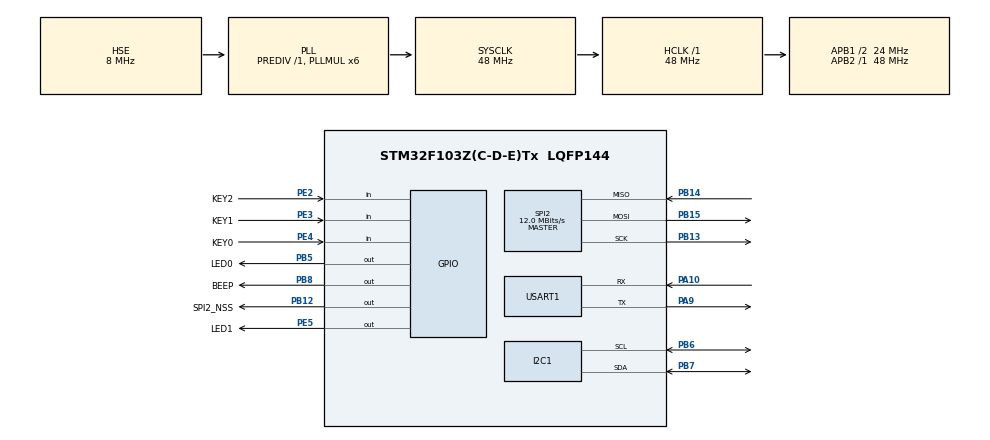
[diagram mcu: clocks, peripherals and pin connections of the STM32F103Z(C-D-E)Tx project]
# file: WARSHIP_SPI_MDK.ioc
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I2C1.I2C_Mode=I2C_Fast
Mcu.Family=STM32F1
Mcu.Name=STM32F103Z(C-D-E)Tx
Mcu.Package=LQFP144
NVIC.PriorityGroup=NVIC_PRIORITYGROUP_4
OSC_IN.Mode=HSE-External-Oscillator
OSC_IN.Signal=RCC_OSC_IN
OSC_OUT.Mode=HSE-External-Oscillator
OSC_OUT.Signal=RCC_OSC_OUT
PA0-WKUP.Mode=SYS_WakeUp0
PA0-WKUP.Signal=SYS_WKUP
PA10.Mode=Asynchronous
PA10.Signal=USART1_RX
PA13.Mode=Serial_Wire
PA13.Signal=SYS_JTMS-SWDIO
PA14.Mode=Serial_Wire
PA14.Signal=SYS_JTCK-SWCLK
PA9.Mode=Asynchronous
PA9.Signal=USART1_TX
PB12.GPIO_Label=SPI2_NSS
PB12.Signal=GPIO_Output
PB13.Mode=Full_Duplex_Master
PB13.Signal=SPI2_SCK
PB14.Mode=Full_Duplex_Master
PB14.Signal=SPI2_MISO
PB15.Mode=Full_Duplex_Master
PB15.Signal=SPI2_MOSI
PB5.GPIO_Label=LED0
PB5.GPIO_ModeDefaultOutputPP=GPIO_MODE_OUTPUT_OD
PB5.GPIO_PuPd=GPIO_NOPULL
PB5.PinState=GPIO_PIN_SET
PB5.Signal=GPIO_Output
PB6.Mode=I2C
PB6.Signal=I2C1_SCL
PB7.Mode=I2C
PB7.Signal=I2C1_SDA
PB8.GPIO_Label=BEEP
PB8.Signal=GPIO_Output
PC14-OSC32_IN.Mode=LSE-External-Oscillator
PC14-OSC32_IN.Signal=RCC_OSC32_IN
PC15-OSC32_OUT.Mode=LSE-External-Oscillator
PC15-OSC32_OUT.Signal=RCC_OSC32_OUT
PE2.GPIO_Label=KEY2
PE2.Signal=GPIO_Input
PE3.GPIO_Label=KEY1
PE3.Signal=GPIO_Input
PE4.GPIO_Label=KEY0
PE4.Signal=GPIO_Input
PE5.GPIO_Label=LED1
PE5.GPIO_ModeDefaultOutputPP=GPIO_MODE_OUTPUT_OD
PE5.GPIO_PuPd=GPIO_NOPULL
PE5.PinState=GPIO_PIN_SET
PE5.Signal=GPIO_Output
ProjectManager.HeapSize=0x200
ProjectManager.StackSize=0x400
ProjectManager.TargetToolchain=MDK-ARM V5.32
RCC.ADCPresc=RCC_ADCPCLK2_DIV4
RCC.AHBFreq_Value=48000000
RCC.APB1CLKDivider=RCC_HCLK_DIV2
RCC.APB1Freq_Value=24000000
RCC.APB1TimFreq_Value=48000000
RCC.APB2Freq_Value=48000000
RCC.APB2TimFreq_Value=48000000
RCC.HCLKFreq_Value=48000000
RCC.PLLMUL=RCC_PLL_MUL6
RCC.PLLSourceVirtual=RCC_PLLSOURCE_HSE
RCC.SYSCLKFreq_VALUE=48000000
RCC.SYSCLKSource=RCC_SYSCLKSOURCE_PLLCLK
RCC.USBFreq_Value=48000000
SPI2.BaudRatePrescaler=SPI_BAUDRATEPRESCALER_2
SPI2.CLKPhase=SPI_PHASE_2EDGE
SPI2.CLKPolarity=SPI_POLARITY_HIGH
SPI2.CalculateBaudRate=12.0 MBits/s
SPI2.Direction=SPI_DIRECTION_2LINES
SPI2.Mode=SPI_MODE_MASTER
SPI2.VirtualType=VM_MASTER
USART1.VirtualMode=VM_ASYNC
VP_RTC_VS_RTC_Activate.Mode=RTC_Enabled
board=custom

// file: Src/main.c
/* USER CODE BEGIN Header */
/**
  ******************************************************************************
  * @file           : main.c
  * @brief          : Main program body
  ******************************************************************************
  * @attention
  *
  * Copyright (c) 2026 STMicroelectronics.
  * All rights reserved.
  *
  * This software is licensed under terms that can be found in the LICENSE file
  * in the root directory of this software component.
  * If no LICENSE file comes with this software, it is provided AS-IS.
  *
  ******************************************************************************
  */
/* USER CODE END Header */
#include "main.h"
#include "i2c.h"
#include "rtc.h"
#include "spi.h"
#include "usart.h"
#include "gpio.h"

void SystemClock_Config(void);
/* USER CODE BEGIN PFP */

static void SaveLEDState(uint8_t led_state);
static uint8_t LoadLEDState(void);

/* USER CODE END PFP */

/* USER CODE BEGIN 0 */

static void SaveLEDState(uint8_t led_state)
{
  //1. Send Write Enable command to the SPI flash memory

  uint8_t writeEnableCmd[] = {0x06}; // Write Enable command
  HAL_GPIO_WritePin(SPI2_NSS_GPIO_Port, SPI2_NSS_Pin, GPIO_PIN_RESET); // CS Low
  HAL_SPI_Transmit(&hspi2, writeEnableCmd, 1, HAL_MAX_DELAY); // Send Write Enable command
  HAL_GPIO_WritePin(SPI2_NSS_GPIO_Port, SPI2_NSS_Pin, GPIO_PIN_SET); // CS High

  //2. Send Sector Erase command to the SPI flash memory

  uint8_t sectorEraseCmd[] = {0x20, 0x00, 0x00, 0x00}; // Sector Erase command with address 0x000000
  HAL_GPIO_WritePin(SPI2_NSS_GPIO_Port, SPI2_NSS_Pin, GPIO_PIN_RESET); // CS Low
  HAL_SPI_Transmit(&hspi2, sectorEraseCmd, 4, HAL_MAX_DELAY); // Send Sector Erase command
  HAL_GPIO_WritePin(SPI2_NSS_GPIO_Port, SPI2_NSS_Pin, GPIO_PIN_SET); // CS High
  HAL_Delay(100); // Wait for Sector Erase to take effect

  //3.Send Write Enable command to the SPI flash memory again

  uint8_t pageProgCmd[5];
  pageProgCmd[0] = 0x02; // Page Program command
  pageProgCmd[1] = 0x00; // Address byte 1
  pageProgCmd[2] = 0x00; // Address byte 2
  pageProgCmd[3] = 0x00; // Address byte 3
  pageProgCmd[4] = led_state; // Data byte to be written
  HAL_GPIO_WritePin(SPI2_NSS_GPIO_Port, SPI2_NSS_Pin, GPIO_PIN_RESET); // CS Low
  HAL_SPI_Transmit(&hspi2, pageProgCmd, 5, HAL_MAX_DELAY); // Send Page Program command
  HAL_GPIO_WritePin(SPI2_NSS_GPIO_Port, SPI2_NSS_Pin, GPIO_PIN_SET); // CS High

  //4. Send Page Program command along with address and data to be written

  HAL_Delay(10); // Wait for Page Program to take effect
}

static uint8_t LoadLEDState(void)
{

  uint8_t readDataCmd[] = {0x03, 0x00, 0x00, 0x00}; // Read Data command with address 0x000000
  uint8_t led_state = 0xff;
  HAL_GPIO_WritePin(SPI2_NSS_GPIO_Port, SPI2_NSS_Pin, GPIO_PIN_RESET); // CS Low
  HAL_SPI_Transmit(&hspi2, readDataCmd, 4, HAL_MAX_DELAY); // Send Read Data command
  HAL_SPI_Receive(&hspi2, &led_state, 1, HAL_MAX_DELAY); // Receive data byte
  HAL_GPIO_WritePin(SPI2_NSS_GPIO_Port, SPI2_NSS_Pin, GPIO_PIN_SET); // CS High
  return led_state;
}

/* USER CODE END 0 */

int main(void)
{

  /* MCU Configuration--------------------------------------------------------*/

  /* Reset of all peripherals, Initializes the Flash interface and the Systick. */
  HAL_Init();

  /* Configure the system clock */
  SystemClock_Config();

  /* Initialize all configured peripherals */
  MX_GPIO_Init();
  MX_RTC_Init();
  MX_USART1_UART_Init();
  MX_I2C1_Init();
  MX_SPI2_Init();

  /* Infinite loop */
  /* USER CODE BEGIN WHILE */

  uint8_t pre_state = 1, cur_state = 1;
  uint8_t led_state = 0;

  led_state = LoadLEDState();
  if(led_state == 1)
  {
    HAL_GPIO_WritePin(LED0_GPIO_Port, LED0_Pin, GPIO_PIN_RESET); //LED0 ON
  }
  else
  {
    HAL_GPIO_WritePin(LED0_GPIO_Port, LED0_Pin, GPIO_PIN_SET); //LED0 OFF
  }

  while (1)
  {
    pre_state = cur_state;

    if(HAL_GPIO_ReadPin(KEY1_GPIO_Port, KEY1_Pin) == GPIO_PIN_SET)
    {
      cur_state = 1;
    }
    else
    {
      cur_state = 0;
    }

    if(pre_state != cur_state)
    {
      HAL_Delay(10); //Debounce delay
      if(cur_state == 0) //Press KEY1
      {

      }
      else //Release KEY1
      {
        if(led_state ==1)
        {
          HAL_GPIO_WritePin(LED0_GPIO_Port, LED0_Pin, GPIO_PIN_SET); //LED0 OFF
          led_state = 0;
        }
        else
        {
          HAL_GPIO_WritePin(LED0_GPIO_Port, LED0_Pin, GPIO_PIN_RESET); //LED0 ON
          led_state = 1;
      }
        SaveLEDState(led_state);
    }
    /* USER CODE END WHILE */

  }
}

void SystemClock_Config(void)
{
  RCC_OscInitTypeDef RCC_OscInitStruct = {0};
  RCC_ClkInitTypeDef RCC_ClkInitStruct = {0};
  RCC_PeriphCLKInitTypeDef PeriphClkInit = {0};

  /** Initializes the RCC Oscillators according to the specified parameters
  * in the RCC_OscInitTypeDef structure.
  */
  RCC_OscInitStruct.OscillatorType = RCC_OSCILLATORTYPE_LSI|RCC_OSCILLATORTYPE_HSE;
  RCC_OscInitStruct.HSEState = RCC_HSE_ON;
  RCC_OscInitStruct.HSEPredivValue = RCC_HSE_PREDIV_DIV1;
  RCC_OscInitStruct.HSIState = RCC_HSI_ON;
  RCC_OscInitStruct.LSIState = RCC_LSI_ON;
  RCC_OscInitStruct.PLL.PLLState = RCC_PLL_ON;
  RCC_OscInitStruct.PLL.PLLSource = RCC_PLLSOURCE_HSE;
  RCC_OscInitStruct.PLL.PLLMUL = RCC_PLL_MUL6;
  if (HAL_RCC_OscConfig(&RCC_OscInitStruct) != HAL_OK)
  {
    Error_Handler();
  }

  /** Initializes the CPU, AHB and APB buses clocks
  */
  RCC_ClkInitStruct.ClockType = RCC_CLOCKTYPE_HCLK|RCC_CLOCKTYPE_SYSCLK
                              |RCC_CLOCKTYPE_PCLK1|RCC_CLOCKTYPE_PCLK2;
  RCC_ClkInitStruct.SYSCLKSource = RCC_SYSCLKSOURCE_PLLCLK;
  RCC_ClkInitStruct.AHBCLKDivider = RCC_SYSCLK_DIV1;
  RCC_ClkInitStruct.APB1CLKDivider = RCC_HCLK_DIV2;
  RCC_ClkInitStruct.APB2CLKDivider = RCC_HCLK_DIV1;

  if (HAL_RCC_ClockConfig(&RCC_ClkInitStruct, FLASH_LATENCY_1) != HAL_OK)
  {
    Error_Handler();
  }
  PeriphClkInit.PeriphClockSelection = RCC_PERIPHCLK_RTC;
  PeriphClkInit.RTCClockSelection = RCC_RTCCLKSOURCE_LSI;
  if (HAL_RCCEx_PeriphCLKConfig(&PeriphClkInit) != HAL_OK)
  {
    Error_Handler();
  }
}

void Error_Handler(void)
{
  __disable_irq();
  while (1)
  {
  }
}
